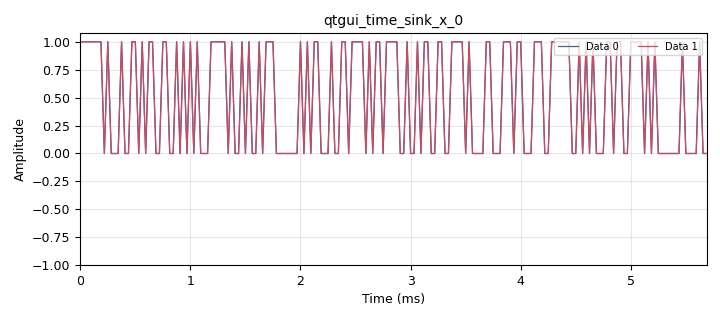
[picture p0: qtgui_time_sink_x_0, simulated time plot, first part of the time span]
options:
  parameters:
    generate_options: qt_gui
    id: Packing_Bits
    output_language: python
    title: packbits
  states: {}

blocks:
- name: samp_rate
  id: variable
  parameters:
    value: '32000'
  states: {}
- name: analog_random_source_x_0
  id: analog_random_source_x
  parameters:
    max: '2'
    min: '0'
    num_samps: '1000'
    repeat: 'True'
    type: byte
  states: {}
- name: blocks_char_to_float_1
  id: blocks_char_to_float
  parameters:
    scale: '1'
  states: {}
- name: blocks_char_to_float_2
  id: blocks_char_to_float
  parameters:
    scale: '1'
  states: {}
- name: blocks_pack_k_bits_bb_0
  id: blocks_pack_k_bits_bb
  parameters:
    k: '4'
  states: {}
- name: blocks_throttle_0
  id: blocks_throttle
  parameters:
    samples_per_second: samp_rate
    type: byte
  states: {}
- name: blocks_unpack_k_bits_bb_0
  id: blocks_unpack_k_bits_bb
  parameters:
    k: '4'
  states: {}
- name: qtgui_time_sink_x_0
  id: qtgui_time_sink_x
  parameters:
    label1: ''
    label2: ''
    nconnections: '2'
    size: '1024'
    srate: samp_rate
    type: float
  states: {}

connections:
- [analog_random_source_x_0, '0', blocks_char_to_float_2, '0']
- [analog_random_source_x_0, '0', blocks_throttle_0, '0']
- [blocks_char_to_float_1, '0', qtgui_time_sink_x_0, '0']
- [blocks_char_to_float_2, '0', qtgui_time_sink_x_0, '1']
- [blocks_pack_k_bits_bb_0, '0', blocks_unpack_k_bits_bb_0, '0']
- [blocks_throttle_0, '0', blocks_pack_k_bits_bb_0, '0']
- [blocks_unpack_k_bits_bb_0, '0', blocks_char_to_float_1, '0']

metadata:
  file_format: 1
